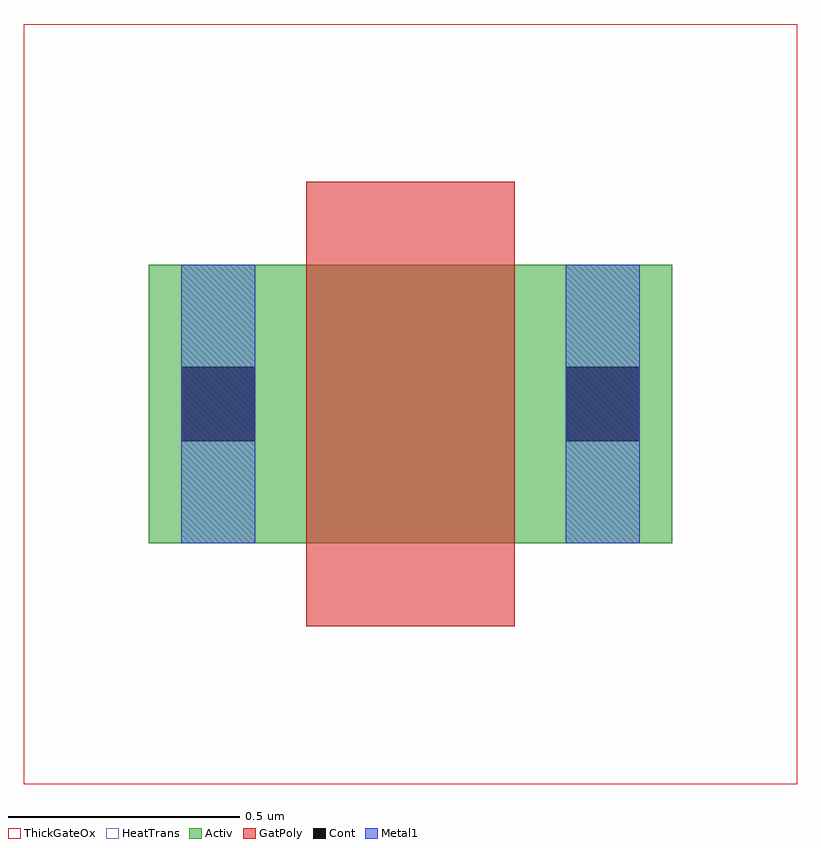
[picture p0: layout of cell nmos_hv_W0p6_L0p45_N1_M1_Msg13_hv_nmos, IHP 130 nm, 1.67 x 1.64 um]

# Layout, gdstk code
import gdstk
lib = gdstk.Library(unit=1e-6, precision=1e-09)
def R(c, l, rs):  # rectangles x0, y0, x1, y1
    for r in rs: c.add(gdstk.rectangle(r[:2], r[2:], *l))
Activ = (1, 0)
GatPoly = (5, 0)
Cont = (6, 0)
Metal1 = (8, 0)
ThickGateOx = (44, 0)
HeatTrans = (51, 0)

nmos_hv_w0p6_l0p45_n1_m1 = lib.new_cell('nmos_hv_W0p6_L0p45_N1_M1_Msg13_hv_nmos')
R(nmos_hv_w0p6_l0p45_n1_m1, Activ, [(0,0,0.3,0.3), (0,0,1.13,0.6), (0.83,0,1.13,0.3)])
R(nmos_hv_w0p6_l0p45_n1_m1, GatPoly, [(0.34,-0.18,0.79,0.78), (0.34,-0.18,0.79,0.78)])
R(nmos_hv_w0p6_l0p45_n1_m1, Cont, [(0.07,0.22,0.23,0.38), (0.9,0.22,1.06,0.38)])
R(nmos_hv_w0p6_l0p45_n1_m1, Metal1, [(0.07,0,0.23,0.6), (0.07,0,0.23,0.6), (0.9,0,1.06,0.6), (0.9,0,1.06,0.6)])
R(nmos_hv_w0p6_l0p45_n1_m1, ThickGateOx, [(-0.27,-0.52,1.4,1.12)])
R(nmos_hv_w0p6_l0p45_n1_m1, HeatTrans, [(0.34,-0.18,0.79,0.78)])

lib.write_gds('nmos_hv_W0p6_L0p45_N1_M1_Msg13_hv_nmos.gds')
